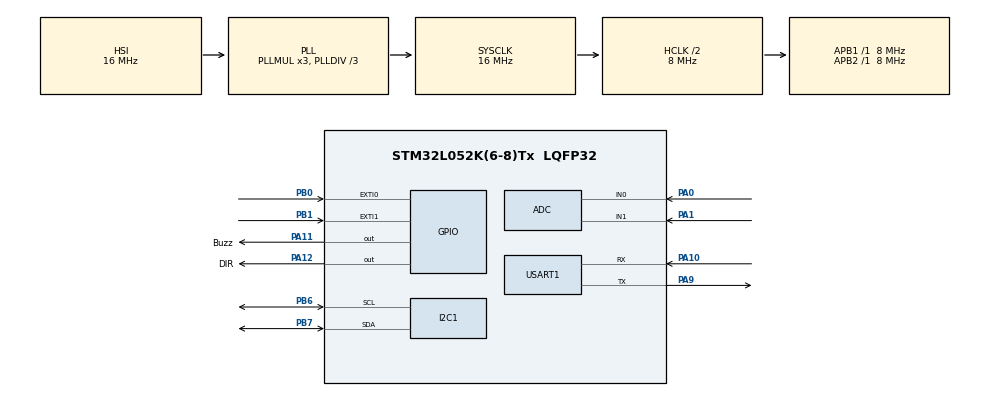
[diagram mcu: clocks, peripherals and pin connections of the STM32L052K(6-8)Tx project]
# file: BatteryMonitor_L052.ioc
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ADC.ClockPrescaler=ADC_CLOCK_SYNC_PCLK_DIV4
ADC.ContinuousConvMode=ENABLE
ADC.SamplingTime=ADC_SAMPLETIME_160CYCLES_5
Dma.Request0=USART1_RX
Dma.USART1_RX.0.Direction=DMA_PERIPH_TO_MEMORY
Dma.USART1_RX.0.Instance=DMA1_Channel3
Dma.USART1_RX.0.MemDataAlignment=DMA_MDATAALIGN_BYTE
Dma.USART1_RX.0.MemInc=DMA_MINC_ENABLE
Dma.USART1_RX.0.Mode=DMA_CIRCULAR
Dma.USART1_RX.0.PeriphDataAlignment=DMA_PDATAALIGN_BYTE
Dma.USART1_RX.0.PeriphInc=DMA_PINC_DISABLE
Dma.USART1_RX.0.Priority=DMA_PRIORITY_LOW
I2C1.Timing=0x2000090E
Mcu.Family=STM32L0
Mcu.Name=STM32L052K(6-8)Tx
Mcu.Package=LQFP32
NVIC.ADC1_COMP_IRQn=true\:0\:0\:false\:false\:true\:true\:true
NVIC.DMA1_Channel2_3_IRQn=true\:0\:0\:false\:false\:true\:false\:true
NVIC.TIM2_IRQn=true\:0\:0\:false\:false\:true\:true\:true
NVIC.USART1_IRQn=true\:0\:0\:false\:false\:true\:true\:true
PA0.Mode=IN0
PA0.Signal=ADC_IN0
PA1.Mode=IN1
PA1.Signal=ADC_IN1
PA10.Mode=Asynchronous
PA10.Signal=USART1_RX
PA11.GPIO_Label=Buzz
PA11.Signal=GPIO_Output
PA12.GPIO_Label=DIR
PA12.Signal=GPIO_Output
PA13.Mode=Serial_Wire
PA13.Signal=SYS_SWDIO
PA14.Mode=Serial_Wire
PA14.Signal=SYS_SWCLK
PA9.Mode=Asynchronous
PA9.Signal=USART1_TX
PB0.Signal=GPXTI0
PB1.Signal=GPXTI1
PB6.Mode=I2C
PB6.Signal=I2C1_SCL
PB7.Mode=I2C
PB7.Signal=I2C1_SDA
ProjectManager.HeapSize=0x200
ProjectManager.StackSize=0x400
ProjectManager.TargetToolchain=STM32CubeIDE
RCC.AHBCLKDivider=RCC_SYSCLK_DIV2
RCC.AHBFreq_Value=8000000
RCC.APB1Freq_Value=8000000
RCC.APB1TimFreq_Value=8000000
RCC.APB2Freq_Value=8000000
RCC.APB2TimFreq_Value=8000000
RCC.HCLKFreq_Value=8000000
RCC.HSI16_VALUE=16000000
RCC.HSI48_VALUE=48000000
RCC.HSI_VALUE=16000000
RCC.LSE_VALUE=32768
RCC.MSI_VALUE=2097000
RCC.PLLDIV=RCC_PLLDIV_3
RCC.SYSCLKFreq_VALUE=16000000
RCC.SYSCLKSource=RCC_SYSCLKSOURCE_PLLCLK
RCC.VCOOutputFreq_Value=48000000
TIM2.AutoReloadPreload=TIM_AUTORELOAD_PRELOAD_ENABLE
TIM2.Period=49
TIM2.Prescaler=8000
USART1.VirtualMode-Asynchronous=VM_ASYNC
VP_TIM2_VS_ClockSourceINT.Mode=Internal
board=custom

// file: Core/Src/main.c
/* USER CODE BEGIN Header */
/**
  ******************************************************************************
  * @file           : main.c
  * @brief          : Main program body
  ******************************************************************************
  * @attention
  *
  * <h2><center>&copy; Copyright (c) 2020 STMicroelectronics.
  * All rights reserved.</center></h2>
  *
  * This software component is licensed by ST under BSD 3-Clause license,
  * the "License"; You may not use this file except in compliance with the
  * License. You may obtain a copy of the License at:
  *                        opensource.org/licenses/BSD-3-Clause
  *
  ******************************************************************************
  */
/* USER CODE END Header */
#include "main.h"

/* USER CODE BEGIN Includes */
#include "ssd1306.h"
#include "Communication.h"
#include "stdbool.h"
/* USER CODE END Includes */

/* USER CODE BEGIN PD */
#define N 20
/* USER CODE END PD */

ADC_HandleTypeDef hadc;

I2C_HandleTypeDef hi2c1;

TIM_HandleTypeDef htim2;

UART_HandleTypeDef huart1;
DMA_HandleTypeDef hdma_usart1_rx;

/* USER CODE BEGIN PV */
volatile bool NewData;
volatile BatDataRec BatData;
volatile uint32_t ADC1_Raw[NAdcCh];
volatile float VprCount;
/* USER CODE END PV */

void SystemClock_Config(void);
static void MX_GPIO_Init(void);
static void MX_DMA_Init(void);
static void MX_ADC_Init(void);
static void MX_I2C1_Init(void);
static void MX_TIM2_Init(void);
static void MX_USART1_UART_Init(void);

/* USER CODE BEGIN 0 */
void HAL_TIM_PeriodElapsedCallback(TIM_HandleTypeDef *htim) {
	if (htim->Instance == TIM2) { //500ms
		//if (AdcChan==2) chanSel(1); else chanSel(2);
		HAL_ADC_Start_IT(&hadc);
	}
}

float mean(float avg, float new_sample){
  avg -= avg / N;
  avg += new_sample / N;
  return avg;
}

void RawToFloat(){
 BatData.ID =255;
 BatData.V =mean(BatData.V,ADC1_Raw[0]*VprCount*11);
 BatData.I =mean(BatData.I,(ADC1_Raw[1]-2048.0)*VprCount*147);
// BatData.I =mean(BatData.I,ADC1_Raw[1]-2048);
 BatData.AH+=BatData.I/7200.0;
 BatData.Power=BatData.V*BatData.I;
// BatData.Tempeture=(((ADC1_Raw[2]-1652)*(vref/4095))/0.0043)+30;
}

void PullAdc() {
	HAL_ADC_Start (&hadc);
	for (int i=0; i<NAdcCh; i++) {
	  HAL_ADC_PollForConversion (&hadc, 100);
	  ADC1_Raw[i]= HAL_ADC_GetValue (&hadc);
    }
	HAL_ADC_Stop (&hadc);
}

void HAL_ADC_ConvCpltCallback(ADC_HandleTypeDef* AdcHandle) {
static int ADC1_index;
ADC_ChannelConfTypeDef sConfig = {0};
	ADC1_Raw[ADC1_index++] = HAL_ADC_GetValue(AdcHandle);
	if (ADC1_index>=NAdcCh) {
	//	VprCount=1.23/ADC1_Raw[2];
		ADC1_Raw[0]-=50;
		ADC1_Raw[1]-=65; //offset
		RawToFloat();
		ADC1_index=0; NewData=true;
		HAL_ADC_Stop (&hadc);
	}
}

void DisplayData() {
 char str[25];
    ssd1306_Fill(Black);
    ssd1306_SetCursor(2, 0);
    sprintf(&str[0],"%2.1fV",BatData.V);
    ssd1306_WriteString(str, Font_16x26, White);

    ssd1306_SetCursor(2, 26);
    sprintf(&str[0],"%.1fA",BatData.I);
    ssd1306_WriteString(str, Font_16x26, White);

    ssd1306_SetCursor(10, 26+26);
    sprintf(&str[0],"%.1fAH %.1fW",BatData.AH, BatData.Power);
    ssd1306_WriteString(str, Font_7x10, White);

  //  sprintf(&str[0],"%.1fAH %.1f°C",BatData.AH, BatData.Tempeture);
  //  ssd1306_WriteString(str, Font_7x10, White);
    ssd1306_UpdateScreen();
}

/* USER CODE END 0 */

int main(void)
{

  /* MCU Configuration--------------------------------------------------------*/

  /* Reset of all peripherals, Initializes the Flash interface and the Systick. */
  HAL_Init();

  /* Configure the system clock */
  SystemClock_Config();

  /* Initialize all configured peripherals */
  MX_GPIO_Init();
  MX_DMA_Init();
  MX_ADC_Init();
  MX_I2C1_Init();
  MX_TIM2_Init();
  MX_USART1_UART_Init();
  /* USER CODE BEGIN 2 */
  initCom1();
  ssd1306_Init();
  HAL_ADC_Start_IT(&hadc);
  VprCount=vref/4095;
  HAL_TIM_Base_Start_IT(&htim2); //start timer 2

  /* USER CODE END 2 */

  /* Infinite loop */
  /* USER CODE BEGIN WHILE */
  while (1)
  {
		if (NewData) {
			NewData=false;
			DisplayData();
			TxRawframe(&BatData.ID,1,sizeof(BatData));
		}
    /* USER CODE END WHILE */

  }
}

void SystemClock_Config(void)
{
  RCC_OscInitTypeDef RCC_OscInitStruct = {0};
  RCC_ClkInitTypeDef RCC_ClkInitStruct = {0};
  RCC_PeriphCLKInitTypeDef PeriphClkInit = {0};

  /** Configure the main internal regulator output voltage
  */
  __HAL_PWR_VOLTAGESCALING_CONFIG(PWR_REGULATOR_VOLTAGE_SCALE1);
  /** Initializes the RCC Oscillators according to the specified parameters
  * in the RCC_OscInitTypeDef structure.
  */
  RCC_OscInitStruct.OscillatorType = RCC_OSCILLATORTYPE_HSI;
  RCC_OscInitStruct.HSIState = RCC_HSI_ON;
  RCC_OscInitStruct.HSICalibrationValue = RCC_HSICALIBRATION_DEFAULT;
  RCC_OscInitStruct.PLL.PLLState = RCC_PLL_ON;
  RCC_OscInitStruct.PLL.PLLSource = RCC_PLLSOURCE_HSI;
  RCC_OscInitStruct.PLL.PLLMUL = RCC_PLLMUL_3;
  RCC_OscInitStruct.PLL.PLLDIV = RCC_PLLDIV_3;
  if (HAL_RCC_OscConfig(&RCC_OscInitStruct) != HAL_OK)
  {
    Error_Handler();
  }
  /** Initializes the CPU, AHB and APB buses clocks
  */
  RCC_ClkInitStruct.ClockType = RCC_CLOCKTYPE_HCLK|RCC_CLOCKTYPE_SYSCLK
                              |RCC_CLOCKTYPE_PCLK1|RCC_CLOCKTYPE_PCLK2;
  RCC_ClkInitStruct.SYSCLKSource = RCC_SYSCLKSOURCE_PLLCLK;
  RCC_ClkInitStruct.AHBCLKDivider = RCC_SYSCLK_DIV2;
  RCC_ClkInitStruct.APB1CLKDivider = RCC_HCLK_DIV1;
  RCC_ClkInitStruct.APB2CLKDivider = RCC_HCLK_DIV1;

  if (HAL_RCC_ClockConfig(&RCC_ClkInitStruct, FLASH_LATENCY_0) != HAL_OK)
  {
    Error_Handler();
  }
  PeriphClkInit.PeriphClockSelection = RCC_PERIPHCLK_USART1|RCC_PERIPHCLK_I2C1;
  PeriphClkInit.Usart1ClockSelection = RCC_USART1CLKSOURCE_PCLK2;
  PeriphClkInit.I2c1ClockSelection = RCC_I2C1CLKSOURCE_PCLK1;
  if (HAL_RCCEx_PeriphCLKConfig(&PeriphClkInit) != HAL_OK)
  {
    Error_Handler();
  }
}

static void MX_ADC_Init(void)
{

  ADC_ChannelConfTypeDef sConfig = {0};

  /** Configure the global features of the ADC (Clock, Resolution, Data Alignment and number of conversion)
  */
  hadc.Instance = ADC1;
  hadc.Init.OversamplingMode = DISABLE;
  hadc.Init.ClockPrescaler = ADC_CLOCK_SYNC_PCLK_DIV4;
  hadc.Init.Resolution = ADC_RESOLUTION_12B;
  hadc.Init.SamplingTime = ADC_SAMPLETIME_160CYCLES_5;
  hadc.Init.ScanConvMode = ADC_SCAN_DIRECTION_FORWARD;
  hadc.Init.DataAlign = ADC_DATAALIGN_RIGHT;
  hadc.Init.ContinuousConvMode = ENABLE;
  hadc.Init.DiscontinuousConvMode = DISABLE;
  hadc.Init.ExternalTrigConvEdge = ADC_EXTERNALTRIGCONVEDGE_NONE;
  hadc.Init.ExternalTrigConv = ADC_SOFTWARE_START;
  hadc.Init.DMAContinuousRequests = DISABLE;
  hadc.Init.EOCSelection = ADC_EOC_SINGLE_CONV;
  hadc.Init.Overrun = ADC_OVR_DATA_PRESERVED;
  hadc.Init.LowPowerAutoWait = DISABLE;
  hadc.Init.LowPowerFrequencyMode = ENABLE;
  hadc.Init.LowPowerAutoPowerOff = DISABLE;
  if (HAL_ADC_Init(&hadc) != HAL_OK)
  {
    Error_Handler();
  }
  /** Configure for the selected ADC regular channel to be converted.
  */
  sConfig.Channel = ADC_CHANNEL_0;
  sConfig.Rank = ADC_RANK_CHANNEL_NUMBER;
  if (HAL_ADC_ConfigChannel(&hadc, &sConfig) != HAL_OK)
  {
    Error_Handler();
  }
  /** Configure for the selected ADC regular channel to be converted.
  */
  sConfig.Channel = ADC_CHANNEL_1;
  if (HAL_ADC_ConfigChannel(&hadc, &sConfig) != HAL_OK)
  {
    Error_Handler();
  }

}

static void MX_I2C1_Init(void)
{

  hi2c1.Instance = I2C1;
  hi2c1.Init.Timing = 0x2000090E;
  hi2c1.Init.OwnAddress1 = 0;
  hi2c1.Init.AddressingMode = I2C_ADDRESSINGMODE_7BIT;
  hi2c1.Init.DualAddressMode = I2C_DUALADDRESS_DISABLE;
  hi2c1.Init.OwnAddress2 = 0;
  hi2c1.Init.OwnAddress2Masks = I2C_OA2_NOMASK;
  hi2c1.Init.GeneralCallMode = I2C_GENERALCALL_DISABLE;
  hi2c1.Init.NoStretchMode = I2C_NOSTRETCH_DISABLE;
  if (HAL_I2C_Init(&hi2c1) != HAL_OK)
  {
    Error_Handler();
  }
  /** Configure Analogue filter
  */
  if (HAL_I2CEx_ConfigAnalogFilter(&hi2c1, I2C_ANALOGFILTER_ENABLE) != HAL_OK)
  {
    Error_Handler();
  }
  /** Configure Digital filter
  */
  if (HAL_I2CEx_ConfigDigitalFilter(&hi2c1, 0) != HAL_OK)
  {
    Error_Handler();
  }

}

static void MX_TIM2_Init(void)
{

  TIM_ClockConfigTypeDef sClockSourceConfig = {0};
  TIM_MasterConfigTypeDef sMasterConfig = {0};

  htim2.Instance = TIM2;
  htim2.Init.Prescaler = 8000;
  htim2.Init.CounterMode = TIM_COUNTERMODE_UP;
  htim2.Init.Period = 49;
  htim2.Init.ClockDivision = TIM_CLOCKDIVISION_DIV1;
  htim2.Init.AutoReloadPreload = TIM_AUTORELOAD_PRELOAD_ENABLE;
  if (HAL_TIM_Base_Init(&htim2) != HAL_OK)
  {
    Error_Handler();
  }
  sClockSourceConfig.ClockSource = TIM_CLOCKSOURCE_INTERNAL;
  if (HAL_TIM_ConfigClockSource(&htim2, &sClockSourceConfig) != HAL_OK)
  {
    Error_Handler();
  }
  sMasterConfig.MasterOutputTrigger = TIM_TRGO_RESET;
  sMasterConfig.MasterSlaveMode = TIM_MASTERSLAVEMODE_DISABLE;
  if (HAL_TIMEx_MasterConfigSynchronization(&htim2, &sMasterConfig) != HAL_OK)
  {
    Error_Handler();
  }

}

static void MX_USART1_UART_Init(void)
{

  huart1.Instance = USART1;
  huart1.Init.BaudRate = 115200;
  huart1.Init.WordLength = UART_WORDLENGTH_8B;
  huart1.Init.StopBits = UART_STOPBITS_1;
  huart1.Init.Parity = UART_PARITY_NONE;
  huart1.Init.Mode = UART_MODE_TX_RX;
  huart1.Init.HwFlowCtl = UART_HWCONTROL_NONE;
  huart1.Init.OverSampling = UART_OVERSAMPLING_16;
  huart1.Init.OneBitSampling = UART_ONE_BIT_SAMPLE_DISABLE;
  huart1.AdvancedInit.AdvFeatureInit = UART_ADVFEATURE_NO_INIT;
  if (HAL_UART_Init(&huart1) != HAL_OK)
  {
    Error_Handler();
  }

}

static void MX_DMA_Init(void)
{

  /* DMA controller clock enable */
  __HAL_RCC_DMA1_CLK_ENABLE();

  /* DMA interrupt init */
  /* DMA1_Channel2_3_IRQn interrupt configuration */
  HAL_NVIC_SetPriority(DMA1_Channel2_3_IRQn, 0, 0);
  HAL_NVIC_EnableIRQ(DMA1_Channel2_3_IRQn);

}

static void MX_GPIO_Init(void)
{
  GPIO_InitTypeDef GPIO_InitStruct = {0};

  /* GPIO Ports Clock Enable */
  __HAL_RCC_GPIOA_CLK_ENABLE();
  __HAL_RCC_GPIOB_CLK_ENABLE();

  /*Configure GPIO pin Output Level */
  HAL_GPIO_WritePin(GPIOA, Buzz_Pin|DIR_Pin, GPIO_PIN_RESET);

  /*Configure GPIO pins : PB0 PB1 */
  GPIO_InitStruct.Pin = GPIO_PIN_0|GPIO_PIN_1;
  GPIO_InitStruct.Mode = GPIO_MODE_IT_RISING;
  GPIO_InitStruct.Pull = GPIO_NOPULL;
  HAL_GPIO_Init(GPIOB, &GPIO_InitStruct);

  /*Configure GPIO pins : Buzz_Pin DIR_Pin */
  GPIO_InitStruct.Pin = Buzz_Pin|DIR_Pin;
  GPIO_InitStruct.Mode = GPIO_MODE_OUTPUT_PP;
  GPIO_InitStruct.Pull = GPIO_NOPULL;
  GPIO_InitStruct.Speed = GPIO_SPEED_FREQ_LOW;
  HAL_GPIO_Init(GPIOA, &GPIO_InitStruct);

}

void Error_Handler(void)
{
}

/************************ (C) COPYRIGHT STMicroelectronics *****END OF FILE****/
